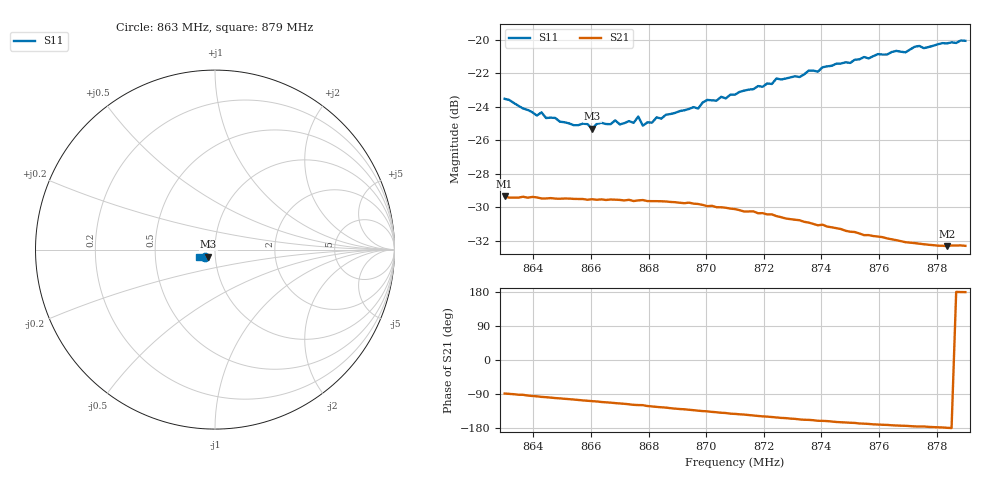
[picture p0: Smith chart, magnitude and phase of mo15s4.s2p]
# HZ S RI R 50
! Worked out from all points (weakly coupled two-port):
!   101 points, 863 MHz to 879 MHz, reference 50 ohm
!   highest |S21| = -29.34 dB at 863 MHz (marker M1); lowest = -32.3 dB at 878.36 MHz (marker M2)
!   lowest |S11| = -25.3 dB at 866.04 MHz (marker M3), VSWR 1.11, Z = 46.2 - j3.61 ohm
!   |S11| at or under -10 dB: start of sweep to end of sweep
!   S12 and S22 are empty: the file has one direction only
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8.63e8  -0.0534 -0.0399  0.000881 -0.0341  0 0  0 0
8.6412e8  -0.0458 -0.0379  -0.0035 -0.0337  0 0  0 0
8.6428e8  -0.0461 -0.0396  -0.0043 -0.0334  0 0  0 0
8.6444e8  -0.0445 -0.0379  -0.00478 -0.0333  0 0  0 0
8.6572e8  -0.0396 -0.04  -0.00959 -0.0321  0 0  0 0
8.6604e8  -0.0378 -0.039  -0.0107 -0.0317  0 0  0 0
8.6684e8  -0.0375 -0.0437  -0.0134 -0.0305  0 0  0 0
8.67e8  -0.0366 -0.0423  -0.0139 -0.0303  0 0  0 0
8.6748e8  -0.035 -0.0444  -0.0157 -0.0291  0 0  0 0
8.6764e8  -0.0367 -0.0462  -0.016 -0.029  0 0  0 0
8.678e8  -0.0343 -0.0435  -0.0162 -0.0291  0 0  0 0
8.6844e8  -0.0348 -0.0467  -0.0188 -0.0271  0 0  0 0
8.6972e8  -0.0358 -0.0511  -0.0224 -0.0234  0 0  0 0
8.7004e8  -0.0382 -0.0541  -0.0227 -0.0224  0 0  0 0
8.71e8  -0.04 -0.0558  -0.0247 -0.0191  0 0  0 0
8.7228e8  -0.046 -0.0578  -0.0262 -0.0149  0 0  0 0
8.7244e8  -0.0484 -0.0595  -0.0262 -0.0142  0 0  0 0
8.7324e8  -0.0509 -0.0584  -0.0266 -0.0114  0 0  0 0
8.7372e8  -0.0539 -0.0605  -0.0263 -0.0102  0 0  0 0
8.7644e8  -0.0745 -0.054  -0.0252 -0.00342  0 0  0 0
8.7836e8  -0.0875 -0.0433  -0.0242 -0.000463  0 0  0 0
8.79e8  -0.0909 -0.04  -0.0243 0.000376  0 0  0 0
